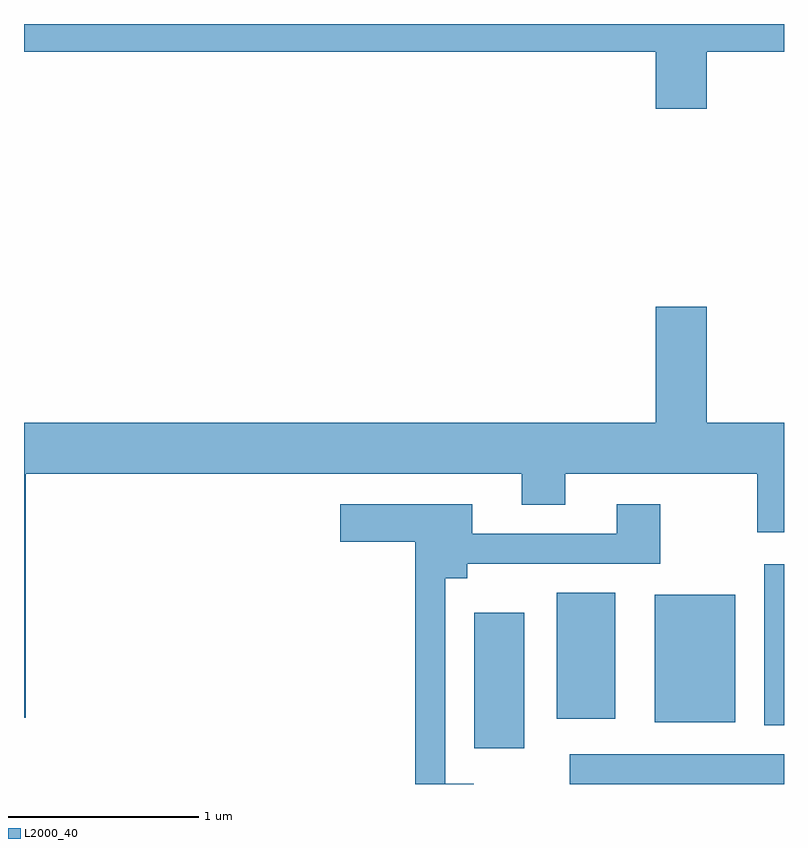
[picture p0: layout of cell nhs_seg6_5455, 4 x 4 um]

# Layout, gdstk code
import gdstk
lib = gdstk.Library(unit=1e-6, precision=1e-09)
def R(c, l, rs):  # rectangles x0, y0, x1, y1
    for r in rs: c.add(gdstk.rectangle(r[:2], r[2:], *l))
def P(c, l, *ps):  # polygons
    for p in ps: c.add(gdstk.Polygon(p, *l))
L2000_40 = (2000, 40)

nhs_seg6_5455 = lib.new_cell('nhs_seg6_5455')
R(nhs_seg6_5455, L2000_40, [(354.483,1566.162,355.611,1566.319), (353.981,1566.351,354.244,1567.064), (355.506,1566.471,355.611,1567.319), (354.931,1566.486,355.354,1567.159), (354.416,1566.506,354.724,1567.169)])
P(nhs_seg6_5455, L2000_40, [(355.204,1570.016),(355.611,1570.016),(355.611,1570.162),(351.611,1570.162),(351.611,1570.016),(354.936,1570.016),(354.936,1569.716),(355.204,1569.716)],
  [(351.619,1567.796),(354.231,1567.796),(354.231,1567.631),(354.459,1567.631),(354.459,1567.796),(355.471,1567.796),(355.471,1567.486),(355.611,1567.486),(355.611,1568.064),(355.204,1568.064),(355.204,1568.674),(354.936,1568.674),(354.936,1568.064),(351.611,1568.064),(351.611,1566.511),(351.619,1566.511)],
  [(353.978,1566.164),(353.829,1566.164),(353.829,1567.246),(353.944,1567.246),(353.944,1567.321),(354.959,1567.321),(354.959,1567.634),(354.731,1567.634),(354.731,1567.479),(353.969,1567.479),(353.969,1567.634),(353.276,1567.634),(353.276,1567.436),(353.671,1567.436),(353.671,1566.162),(353.978,1566.162)])

lib.write_gds('nhs_seg6_5455.gds')
